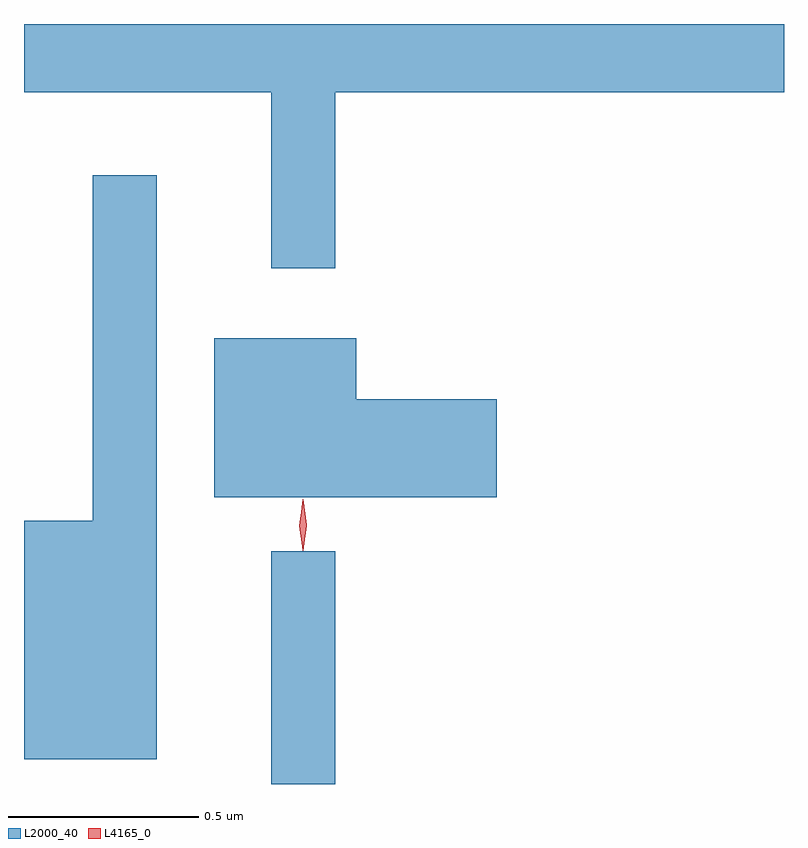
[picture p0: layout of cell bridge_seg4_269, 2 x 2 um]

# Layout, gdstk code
import gdstk
lib = gdstk.Library(unit=1e-6, precision=1e-09)
def R(c, l, rs):  # rectangles x0, y0, x1, y1
    for r in rs: c.add(gdstk.rectangle(r[:2], r[2:], *l))
def P(c, l, *ps):  # polygons
    for p in ps: c.add(gdstk.Polygon(p, *l))
L2000_40 = (2000, 40)
L4165_0 = (4165, 0)

bridge_seg4_269 = lib.new_cell('bridge_seg4_269')
R(bridge_seg4_269, L2000_40, [(759.541,1368.396,759.709,1369.008)])
P(bridge_seg4_269, L2000_40, [(759.709,1370.216),(760.89,1370.216),(760.89,1370.396),(758.89,1370.396),(758.89,1370.216),(759.541,1370.216),(759.541,1369.753),(759.709,1369.753)],
  [(759.239,1369.998),(759.071,1369.998),(759.071,1369.089),(758.89,1369.089),(758.89,1368.461),(759.239,1368.461)],
  [(760.134,1369.409),(759.764,1369.409),(759.764,1369.569),(759.391,1369.569),(759.391,1369.151),(760.134,1369.151)])
P(bridge_seg4_269, L4165_0, [(759.624,1369.013),(759.614,1369.076),(759.624,1369.139),(759.624,1369.14),(759.625,1369.139),(759.634,1369.076),(759.625,1369.013),(759.625,1369.013)],
  [(759.624,1369.01),(759.615,1369.078),(759.624,1369.146),(759.624,1369.146),(759.625,1369.146),(759.634,1369.078),(759.625,1369.01),(759.625,1369.01)])

lib.write_gds('bridge_seg4_269.gds')
